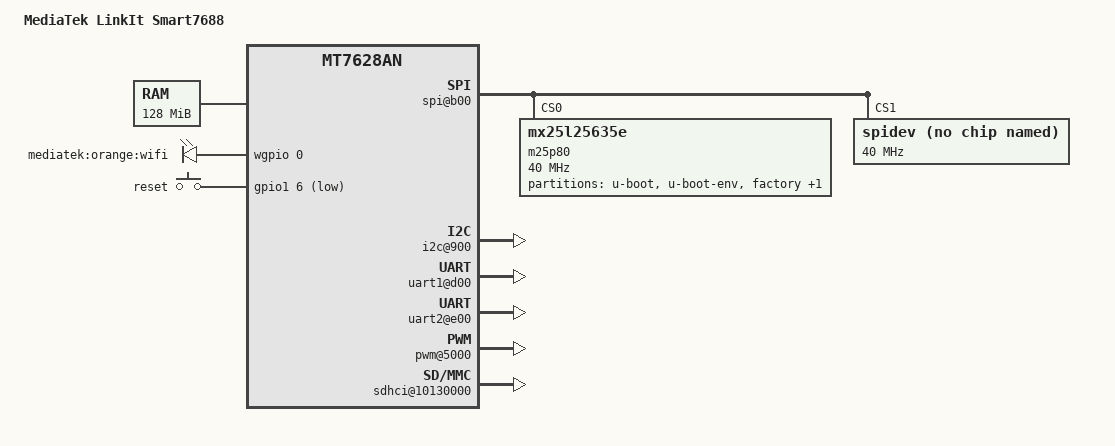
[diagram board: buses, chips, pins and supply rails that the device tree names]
/dts-v1/;

/include/ "mt7628an.dtsi"

/ {
	compatible = "mediatek,linkit", "mediatek,mt7628an-soc";
	model = "MediaTek LinkIt Smart7688";

	chosen {
		bootargs = "console=ttyS2,57600";
	};

	memory@0 {
		device_type = "memory";
		reg = <0x0 0x8000000>;
	};

	pinctrl {
		state_default: pinctrl0 {
			gpio {
				ralink,group = "gpio";
				ralink,function = "gpio";
			};
			perst {
				ralink,group = "perst";
				ralink,function = "gpio";
			};
			refclk {
				ralink,group = "refclk";
				ralink,function = "gpio";
			};
			i2s {
				ralink,group = "i2s";
				ralink,function = "gpio";
			};
			spis {
				ralink,group = "spis";
				ralink,function = "gpio";
			};
			wled_kn {
				ralink,group = "wled_kn";
				ralink,function = "gpio";
			};
			wled_an {
				ralink,group = "wled_an";
				ralink,function = "wled_an";
			};
			wdt {
				ralink,group = "wdt";
				ralink,function = "gpio";
			};
		};
	};

	palmbus@10000000 {
		spi@b00 {
			status = "okay";

			pinctrl-names = "default";
			pinctrl-0 = <&spi_pins>, <&spi_cs1_pins>;

			m25p80@0 {
				#address-cells = <1>;
				#size-cells = <1>;
				compatible = "mx25l25635e";
				reg = <0 0>;
				linux,modalias = "m25p80", "mx25l25635e";
				spi-max-frequency = <40000000>;
				m25p,chunked-io = <31>;

				partition@0 {
					label = "u-boot";
					reg = <0x0 0x30000>;
					read-only;
				};

				partition@30000 {
					label = "u-boot-env";
					reg = <0x30000 0x10000>;
				};

				factory: partition@40000 {
					label = "factory";
					reg = <0x40000 0x10000>;
					read-only;
				};

				partition@50000 {
					label = "firmware";
					reg = <0x50000 0x1fb0000>;
				};
			};

			spidev@1 {
				#address-cells = <1>;
				#size-cells = <1>;
				compatible = "spidev";
				reg = <1 0>;
				spi-max-frequency = <40000000>;
			};
		};

		i2c@900 {
			status = "okay";
		};

		uart1@d00 {
			status = "okay";
		};

		uart2@e00 {
			status = "okay";
		};

		pwm@5000 {
			status = "okay";
		};
	};

	ethernet@10100000 {
		mtd-mac-address = <&factory 0x28>;
	};

	sdhci@10130000 {
		status = "okay";
		mediatek,cd-high;
//		mediatek,cd-poll;
	};

	bootstrap {
		compatible = "mediatek,linkit";

		status = "okay";
	};

	gpio-leds {
		compatible = "gpio-leds";
		wifi {
			label = "mediatek:orange:wifi";
			gpios = <&wgpio 0 0>;
			default-state = "on";
		};
	};

	gpio-keys-polled {
		compatible = "gpio-keys-polled";
		#address-cells = <1>;
		#size-cells = <0>;
		poll-interval = <20>;
		wps {
			label = "reset";
			gpios = <&gpio1 6 1>;
			linux,code = <0x211>;
		};
	};

	wgpio: gpio-wifi {
		#address-cells = <1>;
		#size-cells = <0>;

		compatible = "mediatek,gpio-wifi";
		gpio-controller;
		#gpio-cells = <2>;
	};

};
